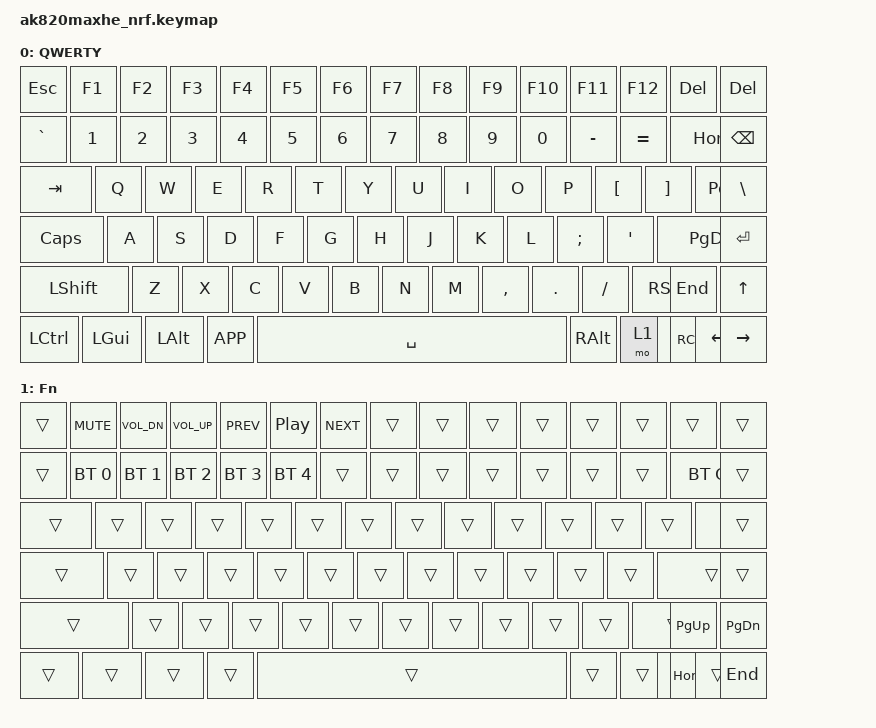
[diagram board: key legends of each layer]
/*
 * Copyright (c) 2025
 * SPDX-License-Identifier: MIT
 *
 * AK820 Max HE keymap — 75% ANSI, 84 keys, 2 layers
 *
 * Matrix positions (84 keys in transform order):
 *
 *  Row 0  — F-row  (positions  0-14)
 *  Row 1  — Num    (positions 15-29)
 *  Row 2  — QWERTY (positions 30-44)
 *  Row 3  — Home   (positions 45-58, col 12 skipped)
 *  Row 4  — Shift  (positions 59-72, col 14 skipped)
 *  Row 5  — Ctrl   (positions 73-83, cols 4,6,7,14 skipped)
 *
 *  Physical layout (top to bottom):
 *  ┌─────┬──┬──┬──┬──┬──┬──┬──┬──┬──┬───┬───┬───┬─────┬─────┐
 *  │ ESC │F1│F2│F3│F4│F5│F6│F7│F8│F9│F10│F11│F12│ DEL │ INS │
 *  ├─────┼──┼──┼──┼──┼──┼──┼──┼──┼──┼───┼───┼───┼─────┼─────┤
 *  │  `  │ 1│ 2│ 3│ 4│ 5│ 6│ 7│ 8│ 9│  0│  -│  =│BSPC │PGUP │
 *  ├─────┼──┼──┼──┼──┼──┼──┼──┼──┼──┼───┼───┼───┼─────┼─────┤
 *  │ TAB │ Q│ W│ E│ R│ T│ Y│ U│ I│ O│  P│  [│  ]│  \  │PGDN │
 *  ├─────┼──┼──┼──┼──┼──┼──┼──┼──┼──┼───┼───┼───┼─────┼─────┤
 *  │CAPS │ A│ S│ D│ F│ G│ H│ J│ K│ L│  ;│  '│   │ENTER│HOME │
 *  ├─────┼──┼──┼──┼──┼──┼──┼──┼──┼──┼───┼───┼───┼─────┼─────┤
 *  │LSHFT│ Z│ X│ C│ V│ B│ N│ M│ ,│ .│  /│   │RSH│ UP  │ END │
 *  ├─────┼──┼──┼──┼──┼──┴──┴──┴──┴──┴───┼───┼───┼─────┼─────┤
 *  │LCTL │LG│LA│MNU│  │      SPC        │RAL│FN │RCTL │← ↓ →│
 *  └─────┴──┴──┴───┴──┴─────────────────┴───┴───┴─────┴─────┘
 */

#include <behaviors.dtsi>
#include <dt-bindings/zmk/keys.h>
#include <dt-bindings/zmk/bt.h>

/ {
    keymap {
        compatible = "zmk,keymap";

        /* ── Layer 0: Default QWERTY ─────────────────────────────────── */
        default_layer {
            display-name = "QWERTY";
            bindings = <
                /* Row 0 */
                &kp ESC   &kp F1    &kp F2    &kp F3    &kp F4    &kp F5
                &kp F6    &kp F7    &kp F8    &kp F9    &kp F10   &kp F11
                &kp F12   &kp DEL   &kp DEL
                /* Row 1 */
                &kp GRAVE &kp N1    &kp N2    &kp N3    &kp N4    &kp N5
                &kp N6    &kp N7    &kp N8    &kp N9    &kp N0    &kp MINUS
                &kp EQUAL &kp HOME  &kp BSPC
                /* Row 2 */
                &kp TAB   &kp Q     &kp W     &kp E     &kp R     &kp T
                &kp Y     &kp U     &kp I     &kp O     &kp P     &kp LBKT
                &kp RBKT  &kp PG_UP &kp BSLH
                /* Row 3 (14 keys — col 12 unused) */
                &kp CAPS  &kp A     &kp S     &kp D     &kp F     &kp G
                &kp H     &kp J     &kp K     &kp L     &kp SEMI  &kp APOS
                &kp PG_DN &kp RET
                /* Row 4 (14 keys — col 14 unused) */
                &kp LSHFT &kp Z     &kp X     &kp C     &kp V     &kp B
                &kp N     &kp M     &kp COMMA &kp DOT   &kp FSLH  &kp RSHFT
                &kp END   &kp UP
                /* Row 5 (11 keys — cols 4,6,7,14 unused) */
                &kp LCTRL &kp LGUI  &kp LALT  &kp K_APP
                &kp SPACE
                &kp RALT  &mo 1     &kp DOWN  &kp RCTRL &kp LEFT  &kp RIGHT
            >;
        };

        /* ── Layer 1: Function / system ─────────────────────────────── */
        fn_layer {
            display-name = "Fn";
            bindings = <
                /* Row 0 — transparent F-keys, top-row becomes media/BT */
                &trans    &kp C_MUTE  &kp C_VOL_DN &kp C_VOL_UP &kp C_PREV &kp C_PP
                &kp C_NEXT &trans    &trans    &trans    &trans    &trans
                &trans    &trans    &trans
                /* Row 1 */
                &trans    &bt BT_SEL 0 &bt BT_SEL 1 &bt BT_SEL 2 &bt BT_SEL 3 &bt BT_SEL 4
                &trans    &trans    &trans    &trans    &trans    &trans
                &trans    &bt BT_CLR &trans
                /* Row 2 */
                &trans    &trans    &trans    &trans    &trans    &trans
                &trans    &trans    &trans    &trans    &trans    &trans
                &trans    &trans    &trans
                /* Row 3 */
                &trans    &trans    &trans    &trans    &trans    &trans
                &trans    &trans    &trans    &trans    &trans    &trans
                &trans    &trans
                /* Row 4 */
                &trans    &trans    &trans    &trans    &trans    &trans
                &trans    &trans    &trans    &trans    &trans    &trans
                &kp PG_UP &kp PG_DN
                /* Row 5 */
                &trans    &trans    &trans    &trans
                &trans
                &trans    &trans    &trans    &kp HOME  &trans    &kp END
            >;
        };
    };
};
